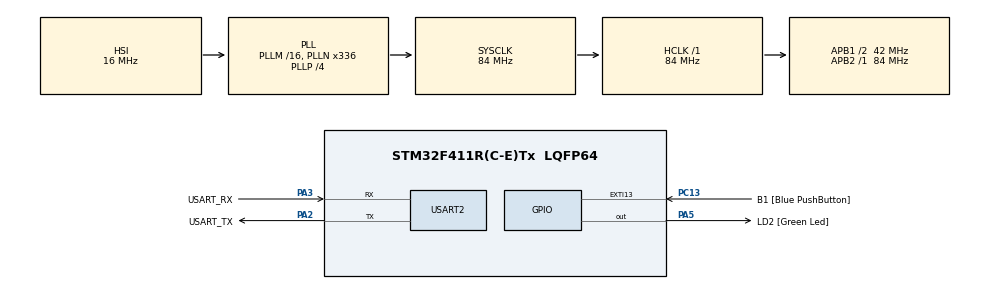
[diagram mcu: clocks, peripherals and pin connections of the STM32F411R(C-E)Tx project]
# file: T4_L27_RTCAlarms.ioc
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Mcu.Family=STM32F4
Mcu.Name=STM32F411R(C-E)Tx
Mcu.Package=LQFP64
NVIC.PriorityGroup=NVIC_PRIORITYGROUP_0
NVIC.RTC_Alarm_IRQn=true\:0\:0\:false\:true\:true\:1\:true\:true
PA13.GPIO_Label=TMS
PA13.Mode=Serial_Wire
PA13.Signal=SYS_JTMS-SWDIO
PA14.GPIO_Label=TCK
PA14.Mode=Serial_Wire
PA14.Signal=SYS_JTCK-SWCLK
PA2.GPIO_Label=USART_TX
PA2.Mode=Asynchronous
PA2.Signal=USART2_TX
PA3.GPIO_Label=USART_RX
PA3.Mode=Asynchronous
PA3.Signal=USART2_RX
PA5.GPIO_Label=LD2 [Green Led]
PA5.Signal=GPIO_Output
PB3.GPIO_Label=SWO
PB3.Signal=SYS_JTDO-SWO
PC13-ANTI_TAMP.GPIO_Label=B1 [Blue PushButton]
PC13-ANTI_TAMP.GPIO_ModeDefaultEXTI=GPIO_MODE_IT_FALLING
PC13-ANTI_TAMP.Signal=GPXTI13
PC14-OSC32_IN.Mode=LSE-External-Oscillator
PC14-OSC32_IN.Signal=RCC_OSC32_IN
PC15-OSC32_OUT.Mode=LSE-External-Oscillator
PC15-OSC32_OUT.Signal=RCC_OSC32_OUT
PH0\ -\ OSC_IN.Mode=HSE-External-Clock-Source
PH0\ -\ OSC_IN.Signal=RCC_OSC_IN
PH1\ -\ OSC_OUT.Mode=HSE-External-Clock-Source
PH1\ -\ OSC_OUT.Signal=RCC_OSC_OUT
ProjectManager.HeapSize=0x200
ProjectManager.StackSize=0x400
ProjectManager.TargetToolchain=STM32CubeIDE
RCC.48MHZClocksFreq_Value=84000000
RCC.AHBFreq_Value=84000000
RCC.APB1CLKDivider=RCC_HCLK_DIV2
RCC.APB1Freq_Value=42000000
RCC.APB1TimFreq_Value=84000000
RCC.APB2Freq_Value=84000000
RCC.APB2TimFreq_Value=84000000
RCC.CortexFreq_Value=84000000
RCC.FLatency-AdvancedSettings=FLASH_LATENCY_2
RCC.HCLKFreq_Value=84000000
RCC.HSE_VALUE=8000000
RCC.HSI_VALUE=16000000
RCC.PLLN=336
RCC.PLLP=RCC_PLLP_DIV4
RCC.RCC_RTC_Clock_Source=RCC_RTCCLKSOURCE_LSE
RCC.RCC_RTC_Clock_SourceVirtual=RCC_RTCCLKSOURCE_LSE
RCC.SYSCLKFreq_VALUE=84000000
RCC.SYSCLKSource=RCC_SYSCLKSOURCE_PLLCLK
RCC.VCOOutputFreq_Value=336000000
RTC.Alarm=RTC_ALARM_A
RTC.Date=9
RTC.Format=RTC_FORMAT_BIN
RTC.Hours=20
RTC.Minutes=30
RTC.Month=RTC_MONTH_APRIL
RTC.Seconds=15
RTC.Year=20
USART2.VirtualMode=VM_ASYNC
VP_RTC_VS_RTC_Activate.Mode=RTC_Enabled
VP_RTC_VS_RTC_Alarm_A_Intern.Mode=Alarm A
VP_RTC_VS_RTC_Calendar.Mode=RTC_Calendar
board=NUCLEO-F411RE

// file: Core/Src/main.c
/* USER CODE BEGIN Header */
/**
  ******************************************************************************
  * @file           : main.c
  * @brief          : Main program body
  ******************************************************************************
  * @attention
  *
  * <h2><center>&copy; Copyright (c) 2020 STMicroelectronics.
  * All rights reserved.</center></h2>
  *
  * This software component is licensed by ST under BSD 3-Clause license,
  * the "License"; You may not use this file except in compliance with the
  * License. You may obtain a copy of the License at:
  *                        opensource.org/licenses/BSD-3-Clause
  *
  ******************************************************************************
  */
/* USER CODE END Header */
#include "main.h"
#include "rtc.h"
#include "usart.h"
#include "gpio.h"

/* USER CODE BEGIN Includes */
#include <stdio.h>
/* USER CODE END Includes */

/* USER CODE BEGIN PV */
RTC_TimeTypeDef RtcTime;
RTC_DateTypeDef RtcDate;

uint8_t CompareSeconds;

uint8_t Message[64];
uint8_t MessageLen;
/* USER CODE END PV */

void SystemClock_Config(void);
static void MX_NVIC_Init(void);
/* USER CODE BEGIN PFP */
void SetAlarm(void);
/* USER CODE END PFP */

int main(void)
{

  /* MCU Configuration--------------------------------------------------------*/

  /* Reset of all peripherals, Initializes the Flash interface and the Systick. */
  HAL_Init();

  /* Configure the system clock */
  SystemClock_Config();

  /* Initialize all configured peripherals */
  MX_GPIO_Init();
  MX_USART2_UART_Init();
  MX_RTC_Init();

  /* Initialize interrupts */
  MX_NVIC_Init();

  /* Infinite loop */
  /* USER CODE BEGIN WHILE */
  while (1)
  {
	  HAL_RTC_GetTime(&hrtc, &RtcTime, RTC_FORMAT_BIN);
	  HAL_RTC_GetDate(&hrtc, &RtcDate, RTC_FORMAT_BIN);

	  if(RtcTime.Seconds != CompareSeconds)
	  {
		  MessageLen = sprintf((char*)Message, "Date: %02d.%02d.20%02d Time: %02d:%02d:%02d\n\r", RtcDate.Date, RtcDate.Month, RtcDate.Year, RtcTime.Hours, RtcTime.Minutes, RtcTime.Seconds);
		  HAL_UART_Transmit(&huart2, Message, MessageLen, 100);
		  CompareSeconds = RtcTime.Seconds;
	  }
	  if(HAL_GPIO_ReadPin(B1_GPIO_Port, B1_Pin) == GPIO_PIN_RESET)
	  {
		  SetAlarm();
		  while(HAL_GPIO_ReadPin(B1_GPIO_Port, B1_Pin) == GPIO_PIN_RESET)
		  {}
	  }
    /* USER CODE END WHILE */

  }
}

void SystemClock_Config(void)
{
  RCC_OscInitTypeDef RCC_OscInitStruct = {0};
  RCC_ClkInitTypeDef RCC_ClkInitStruct = {0};
  RCC_PeriphCLKInitTypeDef PeriphClkInitStruct = {0};

  /** Configure the main internal regulator output voltage
  */
  __HAL_RCC_PWR_CLK_ENABLE();
  __HAL_PWR_VOLTAGESCALING_CONFIG(PWR_REGULATOR_VOLTAGE_SCALE1);
  /** Initializes the RCC Oscillators according to the specified parameters
  * in the RCC_OscInitTypeDef structure.
  */
  RCC_OscInitStruct.OscillatorType = RCC_OSCILLATORTYPE_HSI|RCC_OSCILLATORTYPE_LSE;
  RCC_OscInitStruct.LSEState = RCC_LSE_ON;
  RCC_OscInitStruct.HSIState = RCC_HSI_ON;
  RCC_OscInitStruct.HSICalibrationValue = RCC_HSICALIBRATION_DEFAULT;
  RCC_OscInitStruct.PLL.PLLState = RCC_PLL_ON;
  RCC_OscInitStruct.PLL.PLLSource = RCC_PLLSOURCE_HSI;
  RCC_OscInitStruct.PLL.PLLM = 16;
  RCC_OscInitStruct.PLL.PLLN = 336;
  RCC_OscInitStruct.PLL.PLLP = RCC_PLLP_DIV4;
  RCC_OscInitStruct.PLL.PLLQ = 4;
  if (HAL_RCC_OscConfig(&RCC_OscInitStruct) != HAL_OK)
  {
    Error_Handler();
  }
  /** Initializes the CPU, AHB and APB buses clocks
  */
  RCC_ClkInitStruct.ClockType = RCC_CLOCKTYPE_HCLK|RCC_CLOCKTYPE_SYSCLK
                              |RCC_CLOCKTYPE_PCLK1|RCC_CLOCKTYPE_PCLK2;
  RCC_ClkInitStruct.SYSCLKSource = RCC_SYSCLKSOURCE_PLLCLK;
  RCC_ClkInitStruct.AHBCLKDivider = RCC_SYSCLK_DIV1;
  RCC_ClkInitStruct.APB1CLKDivider = RCC_HCLK_DIV2;
  RCC_ClkInitStruct.APB2CLKDivider = RCC_HCLK_DIV1;

  if (HAL_RCC_ClockConfig(&RCC_ClkInitStruct, FLASH_LATENCY_2) != HAL_OK)
  {
    Error_Handler();
  }
  PeriphClkInitStruct.PeriphClockSelection = RCC_PERIPHCLK_RTC;
  PeriphClkInitStruct.RTCClockSelection = RCC_RTCCLKSOURCE_LSE;
  if (HAL_RCCEx_PeriphCLKConfig(&PeriphClkInitStruct) != HAL_OK)
  {
    Error_Handler();
  }
}

/**
  * @brief NVIC Configuration.
  * @retval None
  */
static void MX_NVIC_Init(void)
{
  /* RTC_Alarm_IRQn interrupt configuration */
  HAL_NVIC_SetPriority(RTC_Alarm_IRQn, 0, 0);
  HAL_NVIC_EnableIRQ(RTC_Alarm_IRQn);
}

/* USER CODE BEGIN 4 */
void SetAlarm(void)
{
	  RTC_TimeTypeDef sTime = {0};
	  RTC_DateTypeDef sDate = {0};
	  RTC_AlarmTypeDef sAlarm = {0};

	   sTime.Hours = 20;
	   sTime.Minutes = 30;
	   sTime.Seconds = 15;
	   sTime.DayLightSaving = RTC_DAYLIGHTSAVING_NONE;
	   sTime.StoreOperation = RTC_STOREOPERATION_RESET;
	   if (HAL_RTC_SetTime(&hrtc, &sTime, RTC_FORMAT_BIN) != HAL_OK)
	   {
	     Error_Handler();
	   }
	   sDate.WeekDay = RTC_WEEKDAY_MONDAY;
	   sDate.Month = RTC_MONTH_APRIL;
	   sDate.Date = 9;
	   sDate.Year = 20;

	   if (HAL_RTC_SetDate(&hrtc, &sDate, RTC_FORMAT_BIN) != HAL_OK)
	   {
	     Error_Handler();
	   }
	  /** Enable the Alarm A
	  */
	  sAlarm.AlarmTime.Hours = 20;
	  sAlarm.AlarmTime.Minutes = 30;
	  sAlarm.AlarmTime.Seconds = 20;
	  sAlarm.AlarmTime.SubSeconds = 0x0;
	  sAlarm.AlarmTime.DayLightSaving = RTC_DAYLIGHTSAVING_NONE;
	  sAlarm.AlarmTime.StoreOperation = RTC_STOREOPERATION_RESET;
	  sAlarm.AlarmMask = RTC_ALARMMASK_NONE;
	  sAlarm.AlarmSubSecondMask = RTC_ALARMSUBSECONDMASK_ALL;
	  sAlarm.AlarmDateWeekDaySel = RTC_ALARMDATEWEEKDAYSEL_DATE;
	  sAlarm.AlarmDateWeekDay = 0x9;
	  sAlarm.Alarm = RTC_ALARM_A;
	  if (HAL_RTC_SetAlarm_IT(&hrtc, &sAlarm, RTC_FORMAT_BIN) != HAL_OK)
	  {
	    Error_Handler();
	  }
}

void HAL_RTC_AlarmAEventCallback(RTC_HandleTypeDef *hrtc)
{
	  MessageLen = sprintf((char*)Message, "!!!ALARM!!!\n\r");
	  HAL_UART_Transmit(&huart2, Message, MessageLen, 100);
}
/* USER CODE END 4 */

void Error_Handler(void)
{
}

/************************ (C) COPYRIGHT STMicroelectronics *****END OF FILE****/
